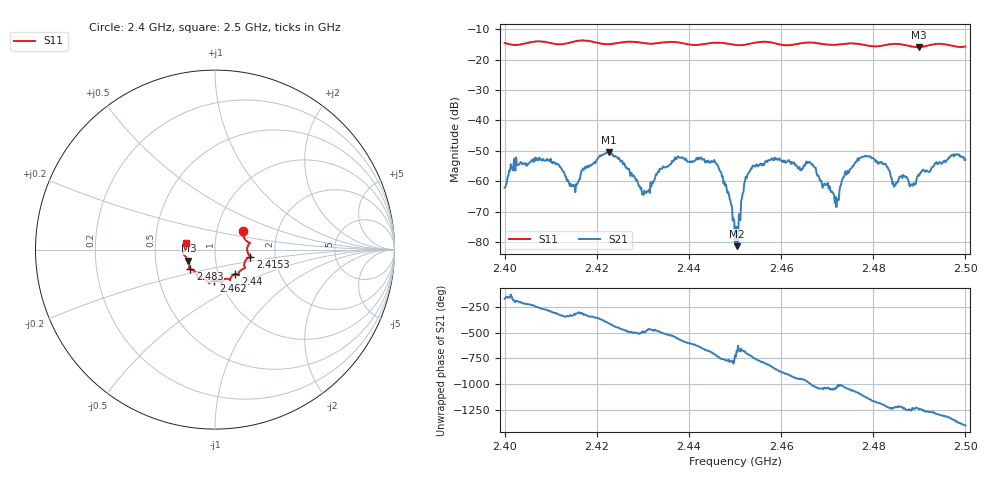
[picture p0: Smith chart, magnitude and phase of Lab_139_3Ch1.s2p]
# Hz S RI R 50
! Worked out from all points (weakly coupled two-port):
!   601 points, 2.4 GHz to 2.5 GHz, reference 50 ohm
!   highest |S21| = -50.47 dB at 2.4227 GHz (marker M1); lowest = -81.3 dB at 2.4505 GHz (marker M2)
!   lowest |S11| = -15.9 dB at 2.4898 GHz (marker M3), VSWR 1.38, Z = 36.8 - j4.61 ohm
!   |S11| at or under -10 dB: start of sweep to end of sweep
!   S12 and S22 are empty: the file has one direction only
!   S11 on the Smith chart (normalised r, x): 2.4 GHz: 1.33, +0.29; 2.4153 GHz: 1.48, -0.12; 2.44 GHz: 1.20, -0.34; 2.462 GHz: 0.93, -0.33; 2.483 GHz: 0.74, -0.17; 2.5 GHz: 0.72, +0.06
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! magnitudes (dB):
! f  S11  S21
! 2.4 GHz  -14.5  -62.1
! 2.4017 GHz  -15.1  -55.5
! 2.4072 GHz  -14.0  -52.5
! 2.4153 GHz  -14.0  -63.6
! 2.4167 GHz  -13.7  -56.5
! 2.4227 GHz  -14.9  -50.5
! 2.4303 GHz  -14.6  -63.0
! 2.4333 GHz  -14.6  -56.7
! 2.44 GHz  -15.0  -53.6
! 2.446 GHz  -14.4  -54.3
! 2.45 GHz  -15.1  -80.7
! 2.4505 GHz  -15.2  -81.3
! 2.4518 GHz  -15.2  -63.6
! 2.4535 GHz  -14.7  -55.7
! 2.462 GHz  -15.2  -53.7
! 2.4667 GHz  -14.4  -54.5
! 2.472 GHz  -15.1  -68.5
! 2.477 GHz  -14.9  -52.5
! 2.483 GHz  -15.1  -55.3
! 2.4833 GHz  -15.0  -56.2
! 2.4898 GHz  -15.9  -57.7
! 2.5 GHz  -15.7  -52.9
